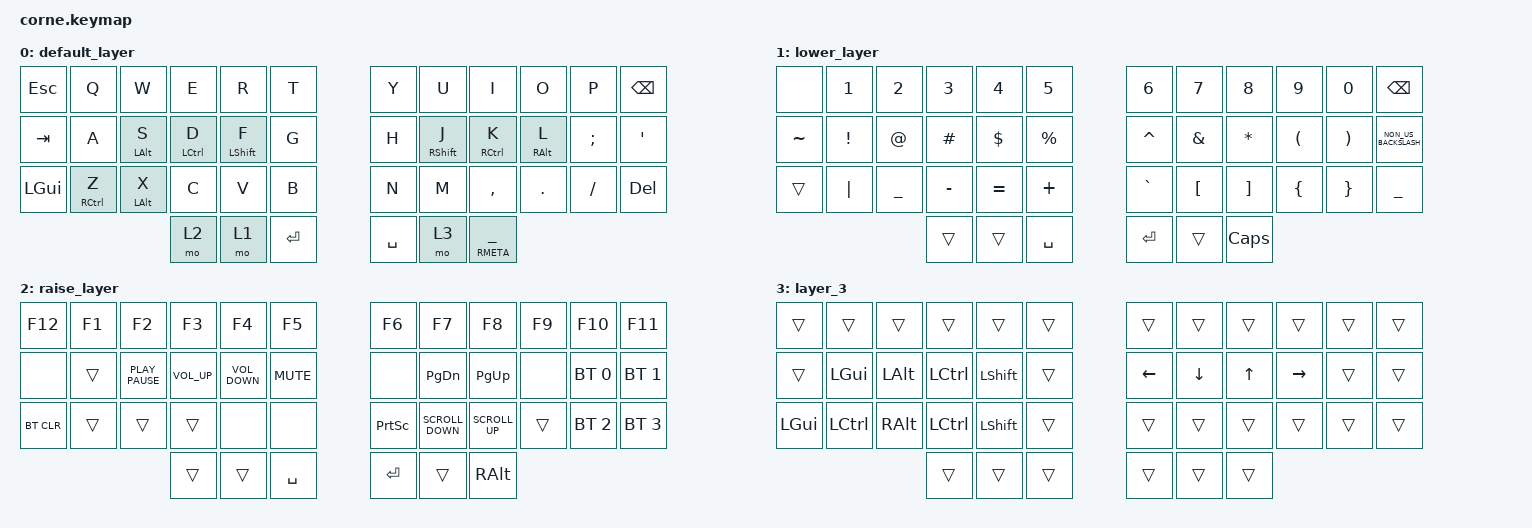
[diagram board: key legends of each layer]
/*
 * Copyright (c) 2020 The ZMK Contributors
 *
 * SPDX-License-Identifier: MIT
 */

#include <behaviors.dtsi>
#include <dt-bindings/zmk/bt.h>
#include <dt-bindings/zmk/keys.h>

/ {
    behaviors {
        HMR: HMR {
            compatible = "zmk,behavior-hold-tap";
            label = "HMR";
            bindings = <&kp>, <&kp>;

            #binding-cells = <2>;
            tapping-term-ms = <300>;
            quick-tap-ms = <175>;
            flavor = "tap-preferred";
            hold-trigger-key-positions = <39 40 41 0 1 2 3 4 5 12 13 14 15 16 17 24 25 26 27 28 29 36 37 38>;
            hold-trigger-on-release;
        };

        HML: HML {
            compatible = "zmk,behavior-hold-tap";
            label = "HML";
            bindings = <&kp>, <&kp>;

            #binding-cells = <2>;
            tapping-term-ms = <300>;
            quick-tap-ms = <175>;
            flavor = "tap-preferred";
            hold-trigger-key-positions = <37 38 36 6 7 8 9 10 11 18 19 20 21 22 23 30 31 32 33 34 35 39 40 41>;
            hold-trigger-on-release;
        };
    };

    keymap {
        compatible = "zmk,keymap";

        default_layer {
            // -----------------------------------------------------------------------------------------
            // |  TAB |  Q  |  W  |  E  |  R  |  T  |   |  Y  |  U   |  I  |  O  |  P  | BSPC |
            // | CTRL |  A  |  S  |  D  |  F  |  G  |   |  H  |  J   |  K  |  L  |  ;  |  '   |
            // | SHFT |  Z  |  X  |  C  |  V  |  B  |   |  N  |  M   |  ,  |  .  |  /  | ESC  |
            //                    | GUI | LWR | SPC |   | ENT | RSE  | ALT |

            bindings = <
&kp ESCAPE    &kp Q                 &kp W        &kp E         &kp R              &kp T        &kp Y      &kp U         &kp I                  &kp O             &kp P      &kp BSPC
&kp TAB       &kp A                 &HML LALT S  &HML LCTRL D  &HML LEFT_SHIFT F  &kp G        &kp H      &HMR RSHFT J  &HMR RCTRL K           &HMR RIGHT_ALT L  &kp SEMI   &kp SQT
&kp LEFT_GUI  &HML RIGHT_CONTROL Z  &HMR LALT X  &kp C         &kp V              &kp B        &kp N      &kp M         &kp COMMA              &kp PERIOD        &kp SLASH  &kp DEL
                                                 &mo 2         &mo 1              &kp ENTER    &kp SPACE  &mo 3         &HMR RMETA UNDERSCORE
            >;
        };

        lower_layer {
            // -----------------------------------------------------------------------------------------
            // |  TAB |  1  |  2  |  3  |  4  |  5  |   |  6  |  7  |  8  |  9  |  0  | BSPC |
            // | BTCLR| BT1 | BT2 | BT3 | BT4 | BT5 |   | LFT | DWN |  UP | RGT |     |      |
            // | SHFT |     |     |     |     |     |   |     |     |     |     |     |      |
            //                    | GUI |     | SPC |   | ENT |     | ALT |

            bindings = <
&none      &kp N1    &kp N2          &kp N3     &kp N4      &kp N5         &kp N6     &kp N7            &kp N8             &kp N9                &kp N0                 &kp BSPC
&kp TILDE  &kp EXCL  &kp AT          &kp HASH   &kp DOLLAR  &kp PERCENT    &kp CARET  &kp AMPERSAND     &kp ASTERISK       &kp LEFT_PARENTHESIS  &kp RIGHT_PARENTHESIS  &kp NON_US_BACKSLASH
&trans     &kp PIPE  &kp UNDERSCORE  &kp MINUS  &kp EQUAL   &kp PLUS       &kp GRAVE  &kp LEFT_BRACKET  &kp RIGHT_BRACKET  &kp LEFT_BRACE        &kp RIGHT_BRACE        &kp UNDERSCORE
                                     &trans     &trans      &kp SPACE      &kp RET    &trans            &kp CAPS
            >;
        };

        raise_layer {
            // -----------------------------------------------------------------------------------------
            // |  TAB |  !  |  @  |  #  |  $  |  %  |   |  ^  |  &  |  *  |  (  |  )  | BSPC |
            // | CTRL |     |     |     |     |     |   |  -  |  =  |  [  |  ]  |  \  |  `   |
            // | SHFT |     |     |     |     |     |   |  _  |  +  |  {  |  }  | "|" |  ~   |
            //                    | GUI |     | SPC |   | ENT |     | ALT |

            bindings = <
&kp F12     &kp F1  &kp F2            &kp F3        &kp F4             &kp F5        &kp F6           &kp F7             &kp F8           &kp F9  &kp F10       &kp F11
&none       &trans  &kp K_PLAY_PAUSE  &kp C_VOL_UP  &kp C_VOLUME_DOWN  &kp C_MUTE    &none            &kp PAGE_DOWN      &kp PG_UP        &none   &bt BT_SEL 0  &bt BT_SEL 1
&bt BT_CLR  &trans  &trans            &trans        &none              &none         &kp PRINTSCREEN  &kp K_SCROLL_DOWN  &kp K_SCROLL_UP  &trans  &bt BT_SEL 2  &bt BT_SEL 3
                                      &trans        &trans             &kp SPACE     &kp RET          &trans             &kp RALT
            >;
        };

        layer_3 {
            bindings = <
&trans        &trans            &trans        &trans     &trans          &trans    &trans          &trans    &trans        &trans     &trans  &trans
&trans        &kp LEFT_GUI      &kp LEFT_ALT  &kp LCTRL  &kp LEFT_SHIFT  &trans    &kp LEFT_ARROW  &kp DOWN  &kp UP_ARROW  &kp RIGHT  &trans  &trans
&kp LEFT_GUI  &kp LEFT_CONTROL  &kp RALT      &kp LCTRL  &kp LEFT_SHIFT  &trans    &trans          &trans    &trans        &trans     &trans  &trans
                                              &trans     &trans          &trans    &trans          &trans    &trans
            >;
        };
    };
};
